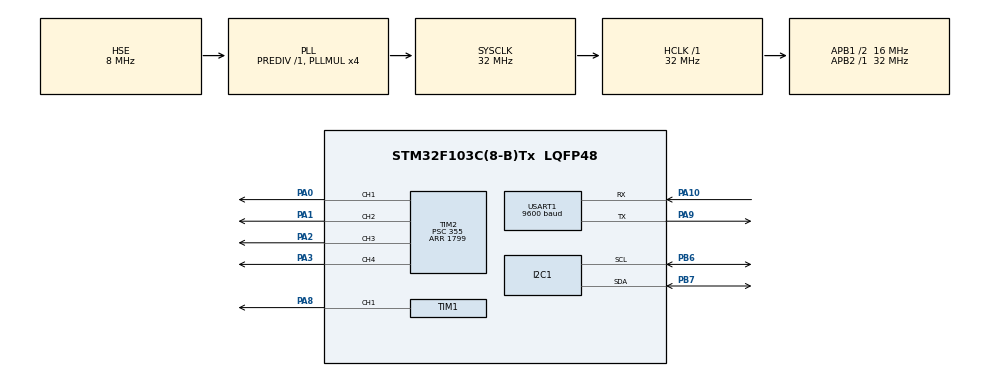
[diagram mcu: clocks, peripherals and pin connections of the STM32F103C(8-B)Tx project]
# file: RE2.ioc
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Mcu.Family=STM32F1
Mcu.Name=STM32F103C(8-B)Tx
Mcu.Package=LQFP48
NVIC.PriorityGroup=NVIC_PRIORITYGROUP_4
NVIC.USART1_IRQn=true\:0\:0\:false\:false\:true\:true\:true
PA0-WKUP.Signal=S_TIM2_CH1_ETR
PA1.Signal=S_TIM2_CH2
PA10.Mode=Asynchronous
PA10.Signal=USART1_RX
PA13.Mode=Serial_Wire
PA13.Signal=SYS_JTMS-SWDIO
PA14.Mode=Serial_Wire
PA14.Signal=SYS_JTCK-SWCLK
PA2.Signal=S_TIM2_CH3
PA3.Signal=S_TIM2_CH4
PA8.Signal=S_TIM1_CH1
PA9.Mode=Asynchronous
PA9.Signal=USART1_TX
PB6.Mode=I2C
PB6.Signal=I2C1_SCL
PB7.Mode=I2C
PB7.Signal=I2C1_SDA
PD0-OSC_IN.Mode=HSE-External-Oscillator
PD0-OSC_IN.Signal=RCC_OSC_IN
PD1-OSC_OUT.Mode=HSE-External-Oscillator
PD1-OSC_OUT.Signal=RCC_OSC_OUT
ProjectManager.HeapSize=0x200
ProjectManager.StackSize=0x400
ProjectManager.TargetToolchain=STM32CubeIDE
RCC.AHBFreq_Value=32000000
RCC.APB1CLKDivider=RCC_HCLK_DIV2
RCC.APB1Freq_Value=16000000
RCC.APB1TimFreq_Value=32000000
RCC.APB2Freq_Value=32000000
RCC.APB2TimFreq_Value=32000000
RCC.HCLKFreq_Value=32000000
RCC.PLLMUL=RCC_PLL_MUL4
RCC.PLLSourceVirtual=RCC_PLLSOURCE_HSE
RCC.SYSCLKFreq_VALUE=32000000
RCC.SYSCLKSource=RCC_SYSCLKSOURCE_PLLCLK
RCC.USBFreq_Value=32000000
SH.S_TIM1_CH1.0=TIM1_CH1,PWM Generation1 CH1
SH.S_TIM2_CH1_ETR.0=TIM2_CH1,PWM Generation1 CH1
SH.S_TIM2_CH2.0=TIM2_CH2,PWM Generation2 CH2
SH.S_TIM2_CH3.0=TIM2_CH3,PWM Generation3 CH3
SH.S_TIM2_CH4.0=TIM2_CH4,PWM Generation4 CH4
TIM1.Channel-PWM\ Generation1\ CH1=TIM_CHANNEL_1
TIM1.Period=1799
TIM1.Prescaler=355
TIM2.Channel-PWM\ Generation1\ CH1=TIM_CHANNEL_1
TIM2.Channel-PWM\ Generation2\ CH2=TIM_CHANNEL_2
TIM2.Channel-PWM\ Generation3\ CH3=TIM_CHANNEL_3
TIM2.Channel-PWM\ Generation4\ CH4=TIM_CHANNEL_4
TIM2.Period=1799
TIM2.Prescaler=355
USART1.BaudRate=9600
USART1.VirtualMode=VM_ASYNC
board=custom

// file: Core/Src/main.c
/* USER CODE BEGIN Header */
/**
  ******************************************************************************
  * @file           : main.c
  * @brief          : Main program body
  ******************************************************************************
  * @attention
  *
  * Copyright (c) 2022 STMicroelectronics.
  * All rights reserved.
  *
  * This software is licensed under terms that can be found in the LICENSE file
  * in the root directory of this software component.
  * If no LICENSE file comes with this software, it is provided AS-IS.
  *
  ******************************************************************************
  */
/* USER CODE END Header */
#include "main.h"

I2C_HandleTypeDef hi2c1;

TIM_HandleTypeDef htim1;
TIM_HandleTypeDef htim2;

UART_HandleTypeDef huart1;

/* USER CODE BEGIN PV */
/* Bluetooth modulumuze gelen degerler 8 bitlik degerlerdir ve tipide int 8bit tipindedir ve baslangic degeri 0 alinir. */
uint8_t RX_BUFFER[] = {0};
/* row ve col iic modullu ekran kontrolu icin satur sutun baslangicidir.*/
int row=0;
int col=0;
/* Buffer degeri bluetooth port degeri olarak sabit degisken tanimlanmistir.*/
#define BUFFER_LEN  1
/* iic modulunun kutuphanesi tanimlanmistir.*/
#include "i2c-lcd.h"
/* USER CODE END PV */

void SystemClock_Config(void);
static void MX_GPIO_Init(void);
static void MX_USART1_UART_Init(void);
static void MX_TIM1_Init(void);
static void MX_I2C1_Init(void);
static void MX_TIM2_Init(void);

/* USER CODE BEGIN 0 */
/* 0 ve 180 derece arasinda servo kontrolunu kisitlamak amaci ile fonksiyon yazilmistir. 45 degeri ise 500 ms dolu olan bir pwm sinyali olusturur ve oda 0 dereceye tekabul eder.*/
/* Servot1 tim1 uzerindeki pwm sinyal kontrol fonksiyonudur*/
/* Servot2 tim uzerindeki pwm sinyallerinin kontrol fonksiyonudur*/
void Servot1(int angle, uint8_t channel)
{
	if(angle<0)
		angle = 0;
	if(angle>180)
		angle = 180;
	angle = angle + 45;

	__HAL_TIM_SET_COMPARE(&htim1, channel, angle);
}

void Servot2(int angle, uint8_t channel)
{
	if(angle<0)
		angle = 0;
	if(angle>180)
		angle = 180;
	angle = angle + 45;

	__HAL_TIM_SET_COMPARE(&htim2, channel, angle);
}

/* USER CODE END 0 */

int main(void)
{

  /* MCU Configuration--------------------------------------------------------*/

  /* Reset of all peripherals, Initializes the Flash interface and the Systick. */
  HAL_Init();

  /* Configure the system clock */
  SystemClock_Config();

  /* Initialize all configured peripherals */
  MX_GPIO_Init();
  MX_USART1_UART_Init();
  MX_TIM1_Init();
  MX_I2C1_Init();
  MX_TIM2_Init();
  /* USER CODE BEGIN 2 */
  /* Pwm sinyalleri baslatilmistir.*/
  HAL_TIM_PWM_Start(&htim1, TIM_CHANNEL_1);
  HAL_TIM_PWM_Start(&htim2, TIM_CHANNEL_1);
  HAL_TIM_PWM_Start(&htim2, TIM_CHANNEL_2);
  HAL_TIM_PWM_Start(&htim2, TIM_CHANNEL_3);
  HAL_TIM_PWM_Start(&htim2, TIM_CHANNEL_4);

  /* Bluetooth modulu uart uzerinden veri alimi baslatir.*/
  HAL_UART_Receive_IT(&huart1, RX_BUFFER, BUFFER_LEN);
  /* Lcd init lcd ekrani calistirir ve string ile string deger yazdirir.*/
  lcd_init ();
  lcd_send_string("BIONIC HAND v1.0");
  /* USER CODE END 2 */

  /* Infinite loop */
  /* USER CODE BEGIN WHILE */
  /* Bu kisimda pythondan veya btterminalden gonderilen char degeri cozumlenir ve gerekli servo elemanina aci degeri olarak iletilir ve ekrana matrisi yazdirilir.*/
  while (1)
  {
    /* USER CODE END WHILE */
	  lcd_put_cur(1, 0);
	      /* USER CODE END WHILE */
	  if(RX_BUFFER[0] == '0'){lcd_send_string("[0, 0, 0, 0, 0]");Servot1(0, TIM_CHANNEL_1);Servot2(0, TIM_CHANNEL_1);Servot2(0, TIM_CHANNEL_2);Servot2(0, TIM_CHANNEL_3);Servot2(0, TIM_CHANNEL_4);}
	  else if(RX_BUFFER[0] == '1'){lcd_send_string("[1, 1, 1, 1, 1]");Servot1(90, TIM_CHANNEL_1);Servot2(90, TIM_CHANNEL_1);Servot2(90, TIM_CHANNEL_2);Servot2(90, TIM_CHANNEL_3);Servot2(90, TIM_CHANNEL_4);}

	  //////////////////////////////

	  else if(RX_BUFFER[0] == 'q'){lcd_send_string("[1, 0, 0, 0, 0]");Servot1(90, TIM_CHANNEL_1);Servot2(0, TIM_CHANNEL_1);Servot2(0, TIM_CHANNEL_2);Servot2(0, TIM_CHANNEL_3);Servot2(0, TIM_CHANNEL_4);}
	  else if(RX_BUFFER[0] == 'w'){lcd_send_string("[0, 1, 0, 0, 0]");Servot1(0, TIM_CHANNEL_1);Servot2(90, TIM_CHANNEL_1);Servot2(0, TIM_CHANNEL_2);Servot2(0, TIM_CHANNEL_3);Servot2(0, TIM_CHANNEL_4);}
	  else if(RX_BUFFER[0] == '6'){lcd_send_string("[0, 0, 1, 0, 0]");Servot1(0, TIM_CHANNEL_1);Servot2(0, TIM_CHANNEL_1);Servot2(90, TIM_CHANNEL_2);Servot2(0, TIM_CHANNEL_3);Servot2(0, TIM_CHANNEL_4);}
	  else if(RX_BUFFER[0] == 'r'){lcd_send_string("[0, 0, 0, 1, 0]");Servot1(0, TIM_CHANNEL_1);Servot2(0, TIM_CHANNEL_1);Servot2(0, TIM_CHANNEL_2);Servot2(90, TIM_CHANNEL_3);Servot2(0, TIM_CHANNEL_4);}
	  else if(RX_BUFFER[0] == 't'){lcd_send_string("[0, 0, 0, 0, 1]");Servot1(0, TIM_CHANNEL_1);Servot2(0, TIM_CHANNEL_1);Servot2(0, TIM_CHANNEL_2);Servot2(0, TIM_CHANNEL_3);Servot2(90, TIM_CHANNEL_4);}

	  //////////////////////////////

	  else if(RX_BUFFER[0] == 'y'){lcd_send_string("[0, 1, 1, 1, 1]");Servot1(0, TIM_CHANNEL_1);Servot2(90, TIM_CHANNEL_1);Servot2(90, TIM_CHANNEL_2);Servot2(90, TIM_CHANNEL_3);Servot2(90, TIM_CHANNEL_4);}
	  else if(RX_BUFFER[0] == 'u'){lcd_send_string("[1, 0, 1, 1, 1]");Servot1(90, TIM_CHANNEL_1);Servot2(0, TIM_CHANNEL_1);Servot2(90, TIM_CHANNEL_2);Servot2(90, TIM_CHANNEL_3);Servot2(90, TIM_CHANNEL_4);}
	  else if(RX_BUFFER[0] == 'i'){lcd_send_string("[1, 1, 0, 1, 1]");Servot1(90, TIM_CHANNEL_1);Servot2(90, TIM_CHANNEL_1);Servot2(0, TIM_CHANNEL_2);Servot2(90, TIM_CHANNEL_3);Servot2(90, TIM_CHANNEL_4);}
	  else if(RX_BUFFER[0] == 'o'){lcd_send_string("[1, 1, 1, 0, 1]");Servot1(90, TIM_CHANNEL_1);Servot2(90, TIM_CHANNEL_1);Servot2(90, TIM_CHANNEL_2);Servot2(0, TIM_CHANNEL_3);Servot2(90, TIM_CHANNEL_4);}
	  else if(RX_BUFFER[0] == 'p'){lcd_send_string("[1, 1, 1, 1, 0]");Servot1(90, TIM_CHANNEL_1);Servot2(90, TIM_CHANNEL_1);Servot2(90, TIM_CHANNEL_2);Servot2(90, TIM_CHANNEL_3);Servot2(0, TIM_CHANNEL_4);}

	  //////////////////////////////

	  else if(RX_BUFFER[0] == 'a'){lcd_send_string("[1, 1, 0, 0, 0]");Servot1(90, TIM_CHANNEL_1);Servot2(90, TIM_CHANNEL_1);Servot2(0, TIM_CHANNEL_2);Servot2(0, TIM_CHANNEL_3);Servot2(0, TIM_CHANNEL_4);}
	  else if(RX_BUFFER[0] == 's'){lcd_send_string("[0, 1, 1, 0, 0]");Servot1(0, TIM_CHANNEL_1);Servot2(90, TIM_CHANNEL_1);Servot2(90, TIM_CHANNEL_2);Servot2(0, TIM_CHANNEL_3);Servot2(0, TIM_CHANNEL_4);}
	  else if(RX_BUFFER[0] == 'd'){lcd_send_string("[0, 0, 1, 1, 0]");Servot1(0, TIM_CHANNEL_1);Servot2(0, TIM_CHANNEL_1);Servot2(90, TIM_CHANNEL_2);Servot2(90, TIM_CHANNEL_3);Servot2(0, TIM_CHANNEL_4);}
	  else if(RX_BUFFER[0] == 'f'){lcd_send_string("[0, 0, 0, 1, 1]");Servot1(0, TIM_CHANNEL_1);Servot2(0, TIM_CHANNEL_1);Servot2(0, TIM_CHANNEL_2);Servot2(90, TIM_CHANNEL_3);Servot2(90, TIM_CHANNEL_4);}
	  else if(RX_BUFFER[0] == 'g'){lcd_send_string("[1, 0, 0, 0, 1]");Servot1(90, TIM_CHANNEL_1);Servot2(0, TIM_CHANNEL_1);Servot2(0, TIM_CHANNEL_2);Servot2(0, TIM_CHANNEL_3);Servot2(90, TIM_CHANNEL_4);}
	  else if(RX_BUFFER[0] == 'h'){lcd_send_string("[1, 0, 0, 1, 0]");Servot1(90, TIM_CHANNEL_1);Servot2(0, TIM_CHANNEL_1);Servot2(0, TIM_CHANNEL_2);Servot2(90, TIM_CHANNEL_3);Servot2(0, TIM_CHANNEL_4);}
	  else if(RX_BUFFER[0] == 'j'){lcd_send_string("[1, 0, 1, 0, 0]");Servot1(90, TIM_CHANNEL_1);Servot2(0, TIM_CHANNEL_1);Servot2(90, TIM_CHANNEL_2);Servot2(0, TIM_CHANNEL_3);Servot2(0, TIM_CHANNEL_4);}
	  else if(RX_BUFFER[0] == 'k'){lcd_send_string("[0, 1, 0, 1, 0]");Servot1(0, TIM_CHANNEL_1);Servot2(90, TIM_CHANNEL_1);Servot2(0, TIM_CHANNEL_2);Servot2(90, TIM_CHANNEL_3);Servot2(0, TIM_CHANNEL_4);}
	  else if(RX_BUFFER[0] == 'l'){lcd_send_string("[0, 1, 0, 0, 1]");Servot1(0, TIM_CHANNEL_1);Servot2(90, TIM_CHANNEL_1);Servot2(0, TIM_CHANNEL_2);Servot2(0, TIM_CHANNEL_3);Servot2(90, TIM_CHANNEL_4);}
	  else if(RX_BUFFER[0] == 'z'){lcd_send_string("[0, 0, 1, 0, 1]");Servot1(0, TIM_CHANNEL_1);Servot2(0, TIM_CHANNEL_1);Servot2(90, TIM_CHANNEL_2);Servot2(0, TIM_CHANNEL_3);Servot2(90, TIM_CHANNEL_4);}

	  //////////////////////////////

	  else if(RX_BUFFER[0] == 'x'){lcd_send_string("[0, 0, 1, 1, 1]");Servot1(0, TIM_CHANNEL_1);Servot2(0, TIM_CHANNEL_1);Servot2(90, TIM_CHANNEL_2);Servot2(90, TIM_CHANNEL_3);Servot2(90, TIM_CHANNEL_4);}
	  else if(RX_BUFFER[0] == 'c'){lcd_send_string("[1, 0, 0, 1, 1]");Servot1(90, TIM_CHANNEL_1);Servot2(0, TIM_CHANNEL_1);Servot2(0, TIM_CHANNEL_2);Servot2(90, TIM_CHANNEL_3);Servot2(90, TIM_CHANNEL_4);}
	  else if(RX_BUFFER[0] == 'v'){lcd_send_string("[1, 1, 0, 0, 1]");Servot1(90, TIM_CHANNEL_1);Servot2(90, TIM_CHANNEL_1);Servot2(0, TIM_CHANNEL_2);Servot2(0, TIM_CHANNEL_3);Servot2(90, TIM_CHANNEL_4);}
	  else if(RX_BUFFER[0] == 'b'){lcd_send_string("[1, 1, 1, 0, 0]");Servot1(90, TIM_CHANNEL_1);Servot2(90, TIM_CHANNEL_1);Servot2(90, TIM_CHANNEL_2);Servot2(0, TIM_CHANNEL_3);Servot2(0, TIM_CHANNEL_4);}
	  else if(RX_BUFFER[0] == 'n'){lcd_send_string("[0, 1, 1, 1, 0]");Servot1(0, TIM_CHANNEL_1);Servot2(90, TIM_CHANNEL_1);Servot2(90, TIM_CHANNEL_2);Servot2(90, TIM_CHANNEL_3);Servot2(0, TIM_CHANNEL_4);}
	  else if(RX_BUFFER[0] == 'm'){lcd_send_string("[0, 1, 1, 0, 1]");Servot1(0, TIM_CHANNEL_1);Servot2(90, TIM_CHANNEL_1);Servot2(90, TIM_CHANNEL_2);Servot2(0, TIM_CHANNEL_3);Servot2(90, TIM_CHANNEL_4);}
	  else if(RX_BUFFER[0] == '2'){lcd_send_string("[0, 1, 0, 1, 1]");Servot1(0, TIM_CHANNEL_1);Servot2(90, TIM_CHANNEL_1);Servot2(0, TIM_CHANNEL_2);Servot2(90, TIM_CHANNEL_3);Servot2(90, TIM_CHANNEL_4);}
	  else if(RX_BUFFER[0] == '3'){lcd_send_string("[1, 0, 1, 0, 1]");Servot1(90, TIM_CHANNEL_1);Servot2(0, TIM_CHANNEL_1);Servot2(90, TIM_CHANNEL_2);Servot2(0, TIM_CHANNEL_3);Servot2(90, TIM_CHANNEL_4);}
	  else if(RX_BUFFER[0] == '4'){lcd_send_string("[1, 0, 1, 1, 0]");Servot1(90, TIM_CHANNEL_1);Servot2(0, TIM_CHANNEL_1);Servot2(90, TIM_CHANNEL_2);Servot2(90, TIM_CHANNEL_3);Servot2(0, TIM_CHANNEL_4);}
	  else if(RX_BUFFER[0] == '5'){lcd_send_string("[1, 1, 0, 1, 0]");Servot1(90, TIM_CHANNEL_1);Servot2(90, TIM_CHANNEL_1);Servot2(0, TIM_CHANNEL_2);Servot2(90, TIM_CHANNEL_3);Servot2(0, TIM_CHANNEL_4);}

	  //////////////////////////////
	  else{lcd_send_string("[1, 1, 1, 1, 1]");Servot1(90, TIM_CHANNEL_1);Servot2(90, TIM_CHANNEL_1);Servot2(90, TIM_CHANNEL_2);Servot2(90, TIM_CHANNEL_3);Servot2(90, TIM_CHANNEL_4);continue;}
	  //else{continue;}
  }
}

void SystemClock_Config(void)
{
  RCC_OscInitTypeDef RCC_OscInitStruct = {0};
  RCC_ClkInitTypeDef RCC_ClkInitStruct = {0};

  /** Initializes the RCC Oscillators according to the specified parameters
  * in the RCC_OscInitTypeDef structure.
  */
  RCC_OscInitStruct.OscillatorType = RCC_OSCILLATORTYPE_HSE;
  RCC_OscInitStruct.HSEState = RCC_HSE_ON;
  RCC_OscInitStruct.HSEPredivValue = RCC_HSE_PREDIV_DIV1;
  RCC_OscInitStruct.HSIState = RCC_HSI_ON;
  RCC_OscInitStruct.PLL.PLLState = RCC_PLL_ON;
  RCC_OscInitStruct.PLL.PLLSource = RCC_PLLSOURCE_HSE;
  RCC_OscInitStruct.PLL.PLLMUL = RCC_PLL_MUL4;
  if (HAL_RCC_OscConfig(&RCC_OscInitStruct) != HAL_OK)
  {
    Error_Handler();
  }
  /** Initializes the CPU, AHB and APB buses clocks
  */
  RCC_ClkInitStruct.ClockType = RCC_CLOCKTYPE_HCLK|RCC_CLOCKTYPE_SYSCLK
                              |RCC_CLOCKTYPE_PCLK1|RCC_CLOCKTYPE_PCLK2;
  RCC_ClkInitStruct.SYSCLKSource = RCC_SYSCLKSOURCE_PLLCLK;
  RCC_ClkInitStruct.AHBCLKDivider = RCC_SYSCLK_DIV1;
  RCC_ClkInitStruct.APB1CLKDivider = RCC_HCLK_DIV2;
  RCC_ClkInitStruct.APB2CLKDivider = RCC_HCLK_DIV1;

  if (HAL_RCC_ClockConfig(&RCC_ClkInitStruct, FLASH_LATENCY_1) != HAL_OK)
  {
    Error_Handler();
  }
}

static void MX_I2C1_Init(void)
{

  hi2c1.Instance = I2C1;
  hi2c1.Init.ClockSpeed = 100000;
  hi2c1.Init.DutyCycle = I2C_DUTYCYCLE_2;
  hi2c1.Init.OwnAddress1 = 0;
  hi2c1.Init.AddressingMode = I2C_ADDRESSINGMODE_7BIT;
  hi2c1.Init.DualAddressMode = I2C_DUALADDRESS_DISABLE;
  hi2c1.Init.OwnAddress2 = 0;
  hi2c1.Init.GeneralCallMode = I2C_GENERALCALL_DISABLE;
  hi2c1.Init.NoStretchMode = I2C_NOSTRETCH_DISABLE;
  if (HAL_I2C_Init(&hi2c1) != HAL_OK)
  {
    Error_Handler();
  }

}

static void MX_TIM1_Init(void)
{

  TIM_MasterConfigTypeDef sMasterConfig = {0};
  TIM_OC_InitTypeDef sConfigOC = {0};
  TIM_BreakDeadTimeConfigTypeDef sBreakDeadTimeConfig = {0};

  htim1.Instance = TIM1;
  htim1.Init.Prescaler = 355;
  htim1.Init.CounterMode = TIM_COUNTERMODE_UP;
  htim1.Init.Period = 1799;
  htim1.Init.ClockDivision = TIM_CLOCKDIVISION_DIV1;
  htim1.Init.RepetitionCounter = 0;
  htim1.Init.AutoReloadPreload = TIM_AUTORELOAD_PRELOAD_DISABLE;
  if (HAL_TIM_PWM_Init(&htim1) != HAL_OK)
  {
    Error_Handler();
  }
  sMasterConfig.MasterOutputTrigger = TIM_TRGO_RESET;
  sMasterConfig.MasterSlaveMode = TIM_MASTERSLAVEMODE_DISABLE;
  if (HAL_TIMEx_MasterConfigSynchronization(&htim1, &sMasterConfig) != HAL_OK)
  {
    Error_Handler();
  }
  sConfigOC.OCMode = TIM_OCMODE_PWM1;
  sConfigOC.Pulse = 0;
  sConfigOC.OCPolarity = TIM_OCPOLARITY_HIGH;
  sConfigOC.OCNPolarity = TIM_OCNPOLARITY_HIGH;
  sConfigOC.OCFastMode = TIM_OCFAST_DISABLE;
  sConfigOC.OCIdleState = TIM_OCIDLESTATE_RESET;
  sConfigOC.OCNIdleState = TIM_OCNIDLESTATE_RESET;
  if (HAL_TIM_PWM_ConfigChannel(&htim1, &sConfigOC, TIM_CHANNEL_1) != HAL_OK)
  {
    Error_Handler();
  }
  sBreakDeadTimeConfig.OffStateRunMode = TIM_OSSR_DISABLE;
  sBreakDeadTimeConfig.OffStateIDLEMode = TIM_OSSI_DISABLE;
  sBreakDeadTimeConfig.LockLevel = TIM_LOCKLEVEL_OFF;
  sBreakDeadTimeConfig.DeadTime = 0;
  sBreakDeadTimeConfig.BreakState = TIM_BREAK_DISABLE;
  sBreakDeadTimeConfig.BreakPolarity = TIM_BREAKPOLARITY_HIGH;
  sBreakDeadTimeConfig.AutomaticOutput = TIM_AUTOMATICOUTPUT_DISABLE;
  if (HAL_TIMEx_ConfigBreakDeadTime(&htim1, &sBreakDeadTimeConfig) != HAL_OK)
  {
    Error_Handler();
  }
  HAL_TIM_MspPostInit(&htim1);

}

static void MX_TIM2_Init(void)
{

  TIM_MasterConfigTypeDef sMasterConfig = {0};
  TIM_OC_InitTypeDef sConfigOC = {0};

  htim2.Instance = TIM2;
  htim2.Init.Prescaler = 355;
  htim2.Init.CounterMode = TIM_COUNTERMODE_UP;
  htim2.Init.Period = 1799;
  htim2.Init.ClockDivision = TIM_CLOCKDIVISION_DIV1;
  htim2.Init.AutoReloadPreload = TIM_AUTORELOAD_PRELOAD_DISABLE;
  if (HAL_TIM_PWM_Init(&htim2) != HAL_OK)
  {
    Error_Handler();
  }
  sMasterConfig.MasterOutputTrigger = TIM_TRGO_RESET;
  sMasterConfig.MasterSlaveMode = TIM_MASTERSLAVEMODE_DISABLE;
  if (HAL_TIMEx_MasterConfigSynchronization(&htim2, &sMasterConfig) != HAL_OK)
  {
    Error_Handler();
  }
  sConfigOC.OCMode = TIM_OCMODE_PWM1;
  sConfigOC.Pulse = 0;
  sConfigOC.OCPolarity = TIM_OCPOLARITY_HIGH;
  sConfigOC.OCFastMode = TIM_OCFAST_DISABLE;
  if (HAL_TIM_PWM_ConfigChannel(&htim2, &sConfigOC, TIM_CHANNEL_1) != HAL_OK)
  {
    Error_Handler();
  }
  if (HAL_TIM_PWM_ConfigChannel(&htim2, &sConfigOC, TIM_CHANNEL_2) != HAL_OK)
  {
    Error_Handler();
  }
  if (HAL_TIM_PWM_ConfigChannel(&htim2, &sConfigOC, TIM_CHANNEL_3) != HAL_OK)
  {
    Error_Handler();
  }
  if (HAL_TIM_PWM_ConfigChannel(&htim2, &sConfigOC, TIM_CHANNEL_4) != HAL_OK)
  {
    Error_Handler();
  }
  HAL_TIM_MspPostInit(&htim2);

}

static void MX_USART1_UART_Init(void)
{

  huart1.Instance = USART1;
  huart1.Init.BaudRate = 9600;
  huart1.Init.WordLength = UART_WORDLENGTH_8B;
  huart1.Init.StopBits = UART_STOPBITS_1;
  huart1.Init.Parity = UART_PARITY_NONE;
  huart1.Init.Mode = UART_MODE_TX_RX;
  huart1.Init.HwFlowCtl = UART_HWCONTROL_NONE;
  huart1.Init.OverSampling = UART_OVERSAMPLING_16;
  if (HAL_UART_Init(&huart1) != HAL_OK)
  {
    Error_Handler();
  }

}

static void MX_GPIO_Init(void)
{

  /* GPIO Ports Clock Enable */
  __HAL_RCC_GPIOD_CLK_ENABLE();
  __HAL_RCC_GPIOA_CLK_ENABLE();
  __HAL_RCC_GPIOB_CLK_ENABLE();

}

/* USER CODE BEGIN 4 */

/* Bluetooth uart fonksiyonu baslatilmistir ve anlik olarak veri cekilir. RX_BUFFER degiskenine yazilir.*/

void HAL_UART_RxCpltCallback(UART_HandleTypeDef *huart)
{
    if(huart->Instance == huart1.Instance)
    {
    HAL_UART_Receive_IT(&huart1, RX_BUFFER, BUFFER_LEN);
    }
}

/* USER CODE END 4 */

void Error_Handler(void)
{
  __disable_irq();
  while (1)
  {
  }
}
